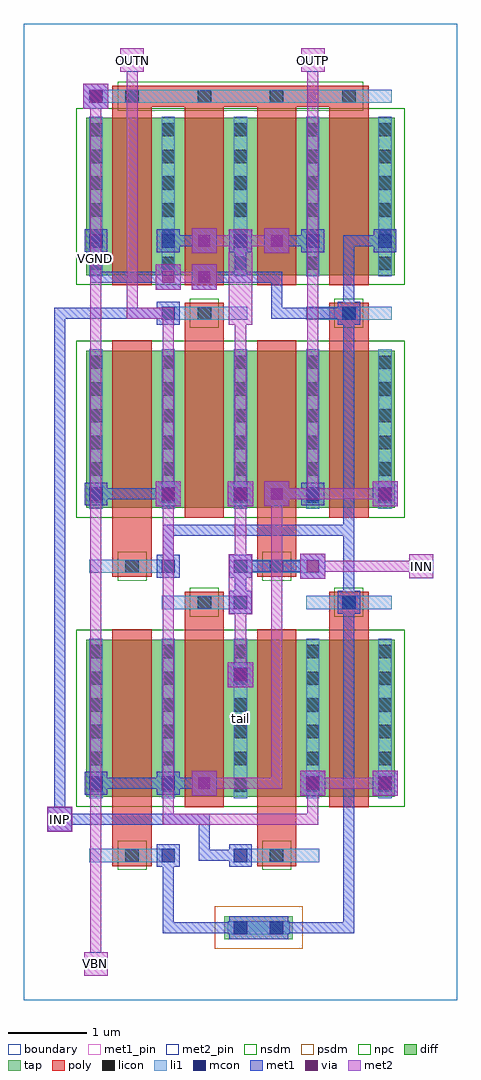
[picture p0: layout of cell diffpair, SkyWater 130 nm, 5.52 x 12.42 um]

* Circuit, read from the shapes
.subckt diffpair INN INP OUTN OUTP VBN VGND tail
XM1 OUTP VGND OUTP VGND sky130_fd_pr__nfet_01v8 w=2 l=0.5 m=2
XM2 OUTN VGND OUTN VGND sky130_fd_pr__nfet_01v8 w=2 l=0.5 m=2
XM3 tail VBN VGND VGND sky130_fd_pr__nfet_01v8 w=2 l=0.5 m=4
XM4 tail INN OUTP VGND sky130_fd_pr__nfet_01v8 w=2 l=0.5 m=2
XM5 tail INP OUTN VGND sky130_fd_pr__nfet_01v8 w=2 l=0.5 m=2
.ends

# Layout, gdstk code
import gdstk
lib = gdstk.Library(unit=1e-6, precision=1e-09)
def R(c, l, rs):  # rectangles x0, y0, x1, y1
    for r in rs: c.add(gdstk.rectangle(r[:2], r[2:], *l))
def A(c, l, x, y, w, h, nx, ny, dx, dy):  # array of equal rectangles
    R(c, l, [(x+i*dx, y+j*dy, x+i*dx+w, y+j*dy+h) for i in range(nx) for j in range(ny)])
diff = (65, 20)
tap = (65, 44)
poly = (66, 20)
licon = (66, 44)
li1 = (67, 20)
mcon = (67, 44)
met1_pin = (68, 16)
met1 = (68, 20)
via = (68, 44)
met2_pin = (69, 16)
met2 = (69, 20)
nsdm = (93, 44)
psdm = (94, 20)
npc = (95, 20)
boundary = (235, 4)

diffpair = lib.new_cell('diffpair')
R(diffpair, diff, [(0.795,2.585,4.725,4.585), (0.795,6.265,4.725,8.265), (0.795,9.225,4.725,11.225)])
R(diffpair, tap, [(2.555,0.775,3.425,1.065)])
A(diffpair, poly, 1.13, 9.095, 0.5, 2.405, 4, 1, 0.92, 0)
R(diffpair, poly, [(1.13,1.705,1.63,1.975), (2.97,1.705,3.47,1.975), (1.13,1.84,1.63,4.715), (2.97,1.84,3.47,4.715), (2.05,2.455,2.55,5.06), (3.89,2.455,4.39,5.06), (2.05,4.925,2.55,5.195), (3.89,4.925,4.39,5.195), (1.13,5.385,1.63,5.655), (2.97,5.385,3.47,5.655), (1.13,5.52,1.63,8.395), (2.97,5.52,3.47,8.395), (2.05,6.135,2.55,8.74), (3.89,6.135,4.39,8.74), (2.05,8.605,2.55,8.875), (3.89,8.605,4.39,8.875), (1.13,11.365,4.39,11.635)])
A(diffpair, licon, 0.835, 2.65, 0.17, 0.17, 5, 6, 0.92, 0.34)
A(diffpair, licon, 0.835, 6.33, 0.17, 0.17, 5, 6, 0.92, 0.34)
A(diffpair, licon, 0.835, 9.29, 0.17, 0.17, 5, 6, 0.92, 0.34)
A(diffpair, licon, 1.295, 11.415, 0.17, 0.17, 4, 1, 0.92, 0)
R(diffpair, licon, [(2.675,0.835,2.845,1.005), (3.135,0.835,3.305,1.005), (1.295,1.755,1.465,1.925), (3.135,1.755,3.305,1.925), (2.215,4.975,2.385,5.145), (4.055,4.975,4.225,5.145), (1.295,5.435,1.465,5.605), (3.135,5.435,3.305,5.605), (2.215,8.655,2.385,8.825), (4.055,8.655,4.225,8.825)])
A(diffpair, li1, 0.835, 2.57, 0.17, 2.03, 5, 2, 0.92, 3.68)
A(diffpair, li1, 0.835, 9.21, 0.17, 2.03, 5, 1, 0.92, 0)
R(diffpair, li1, [(2.595,0.835,3.385,1.005), (0.835,1.755,1.925,1.925), (2.675,1.755,3.765,1.925), (1.755,4.975,2.845,5.145), (3.595,4.975,4.685,5.145), (0.835,5.435,1.925,5.605), (2.675,5.435,3.765,5.605), (1.755,8.655,2.845,8.825), (3.595,8.655,4.685,8.825), (0.835,11.415,4.685,11.585)])
A(diffpair, mcon, 0.835, 6.355, 0.17, 0.17, 5, 2, 0.92, 3.22)
R(diffpair, mcon, [(2.675,0.835,2.845,1.005), (3.135,0.835,3.305,1.005), (1.755,1.755,1.925,1.925), (2.675,1.755,2.845,1.925), (0.835,2.675,1.005,2.845), (1.755,2.675,1.925,2.845), (3.595,2.675,3.765,2.845), (4.515,2.675,4.685,2.845), (2.675,4.055,2.845,4.225), (2.675,4.975,2.845,5.145), (4.055,4.975,4.225,5.145), (1.755,5.435,1.925,5.605), (2.675,5.435,2.845,5.605), (1.755,8.655,1.925,8.825), (4.055,8.655,4.225,8.825), (0.835,11.415,1.005,11.585)])
R(diffpair, met1_pin, [(0.85,9.13,0.99,9.73)])
A(diffpair, met1, 0.775, 6.295, 0.29, 0.29, 5, 2, 0.92, 3.22)
R(diffpair, met1, [(2.615,0.775,3.365,1.065), (1.77,0.85,2.83,0.99), (1.77,0.85,1.91,1.91), (2.69,0.85,4.21,0.99), (2.69,0.85,2.83,0.99), (4.07,0.85,4.21,5.13), (1.695,1.695,1.985,1.985), (2.615,1.695,2.905,1.985), (2.23,1.77,2.83,1.91), (2.23,1.77,2.37,2.37), (0.3,2.14,0.62,2.46), (0.39,2.23,2.37,2.37), (0.39,2.23,0.53,8.81), (2.14,2.6,2.46,2.92), (3.52,2.6,3.84,2.92), (4.44,2.6,4.76,2.92), (0.775,2.615,1.065,2.905), (1.695,2.615,1.985,2.905), (3.535,2.615,3.825,2.905), (4.455,2.615,4.745,2.905), (0.85,2.69,1.91,2.83), (1.77,2.69,2.37,2.83), (2.6,3.98,2.92,4.3), (2.615,3.995,2.905,4.285), (2.615,4.915,2.905,5.205), (3.995,4.915,4.285,5.205), (2.69,4.99,2.83,5.59), (4.07,4.99,4.21,6.05), (3.52,5.36,3.84,5.68), (1.695,5.375,1.985,5.665), (2.615,5.375,2.905,5.665), (1.77,5.45,1.91,6.05), (2.69,5.45,3.75,5.59), (1.77,5.91,4.21,6.05), (4.07,5.91,4.21,8.81), (1.68,6.28,2,6.6), (2.6,6.28,2.92,6.6), (3.06,6.28,3.38,6.6), (4.44,6.28,4.76,6.6), (0.85,6.37,1.91,6.51), (3.15,6.37,3.75,6.51), (1.695,8.595,1.985,8.885), (3.995,8.595,4.285,8.885), (0.39,8.67,1.91,8.81), (3.15,8.67,3.29,9.27), (3.15,8.67,4.21,8.81), (4.07,8.67,4.21,9.73), (1.68,9.04,2,9.36), (2.14,9.04,2.46,9.36), (0.85,9.13,0.99,9.73), (0.85,9.13,1.91,9.27), (2.23,9.13,2.83,9.27), (2.69,9.13,3.29,9.27), (2.69,9.13,2.83,9.73), (2.14,9.5,2.46,9.82), (3.06,9.5,3.38,9.82), (1.77,9.59,2.37,9.73), (3.15,9.59,3.75,9.73), (4.07,9.59,4.67,9.73), (0.76,11.34,1.08,11.66), (0.775,11.355,1.065,11.645)])
R(diffpair, via, [(0.385,2.225,0.535,2.375), (2.225,2.685,2.375,2.835), (3.605,2.685,3.755,2.835), (4.525,2.685,4.675,2.835), (2.685,4.065,2.835,4.215), (3.605,5.445,3.755,5.595), (1.765,6.365,1.915,6.515), (2.685,6.365,2.835,6.515), (3.145,6.365,3.295,6.515), (4.525,6.365,4.675,6.515), (1.765,9.125,1.915,9.275), (2.225,9.125,2.375,9.275), (2.225,9.585,2.375,9.735), (3.145,9.585,3.295,9.735), (0.845,11.425,0.995,11.575)])
R(diffpair, met2_pin, [(0.77,0.31,1.07,0.61), (0.31,2.15,0.61,2.45), (4.91,5.37,5.21,5.67), (1.23,11.81,1.53,12.11), (3.53,11.81,3.83,12.11)])
R(diffpair, met2, [(0.77,0.31,1.07,0.61), (0.85,0.39,0.99,0.53), (0.85,0.39,0.99,11.57), (0.3,2.14,0.62,2.46), (0.31,2.15,0.61,2.45), (0.39,2.23,0.53,2.37), (1.77,2.23,3.75,2.37), (1.77,2.23,1.91,6.51), (3.61,2.23,3.75,2.83), (2.14,2.6,2.46,2.92), (3.52,2.6,3.84,2.92), (4.44,2.6,4.76,2.92), (2.23,2.69,3.29,2.83), (3.15,2.69,3.29,6.51), (3.61,2.69,4.67,2.83), (2.6,3.98,2.92,4.3), (2.69,4.07,2.83,5.13), (2.61,4.91,2.91,5.67), (3.52,5.36,3.84,5.68), (4.91,5.37,5.21,5.67), (2.69,5.45,2.83,6.51), (3.61,5.45,5.13,5.59), (4.99,5.45,5.13,5.59), (1.68,6.28,2,6.6), (2.6,6.28,2.92,6.6), (3.06,6.28,3.38,6.6), (4.44,6.28,4.76,6.6), (1.77,6.37,1.91,8.81), (2.69,6.37,2.83,8.81), (3.15,6.37,4.67,6.51), (3.61,6.37,3.75,12.03), (2.61,8.59,2.91,9.81), (1.31,8.67,1.91,8.81), (1.31,8.67,1.45,12.03), (1.68,9.04,2,9.36), (2.14,9.04,2.46,9.36), (1.77,9.13,2.37,9.27), (2.14,9.5,2.46,9.82), (3.06,9.5,3.38,9.82), (2.23,9.59,2.83,9.73), (2.69,9.59,3.29,9.73), (0.76,11.34,1.08,11.66), (1.23,11.81,1.53,12.11), (3.53,11.81,3.83,12.11), (1.31,11.89,1.45,12.03), (3.61,11.89,3.75,12.03)])
R(diffpair, nsdm, [(0.67,2.46,4.85,4.71), (0.67,6.14,4.85,8.39), (0.67,9.1,4.85,11.35)])
R(diffpair, psdm, [(2.43,0.65,3.55,1.19)])
R(diffpair, npc, [(1.195,1.655,1.565,2.025), (3.035,1.655,3.405,2.025), (2.115,4.875,2.485,5.245), (3.955,4.875,4.325,5.245), (1.195,5.335,1.565,5.705), (3.035,5.335,3.405,5.705), (2.115,8.555,2.485,8.925), (3.955,8.555,4.325,8.925), (1.195,11.315,4.325,11.685)])
R(diffpair, boundary, [(0,0,5.52,12.42)])
diffpair.add(gdstk.Label('tail', (2.76,3.585), layer=67, texttype=5))
diffpair.add(gdstk.Label('VGND', (0.92,9.43), layer=68, texttype=5))
diffpair.add(gdstk.Label('INP', (0.46,2.3), layer=69, texttype=5))
diffpair.add(gdstk.Label('INN', (5.06,5.52), layer=69, texttype=5))
diffpair.add(gdstk.Label('VBN', (0.92,0.46), layer=69, texttype=5))
diffpair.add(gdstk.Label('OUTP', (3.68,11.96), layer=69, texttype=5))
diffpair.add(gdstk.Label('OUTN', (1.38,11.96), layer=69, texttype=5))
diffpair.add(gdstk.Label('VGND', (0.92,9.43), layer=68, texttype=16))
diffpair.add(gdstk.Label('INP', (0.46,2.3), layer=69, texttype=16))
diffpair.add(gdstk.Label('INN', (5.06,5.52), layer=69, texttype=16))
diffpair.add(gdstk.Label('VBN', (0.92,0.46), layer=69, texttype=16))
diffpair.add(gdstk.Label('OUTP', (3.68,11.96), layer=69, texttype=16))
diffpair.add(gdstk.Label('OUTN', (1.38,11.96), layer=69, texttype=16))

lib.write_gds('diffpair.gds')
